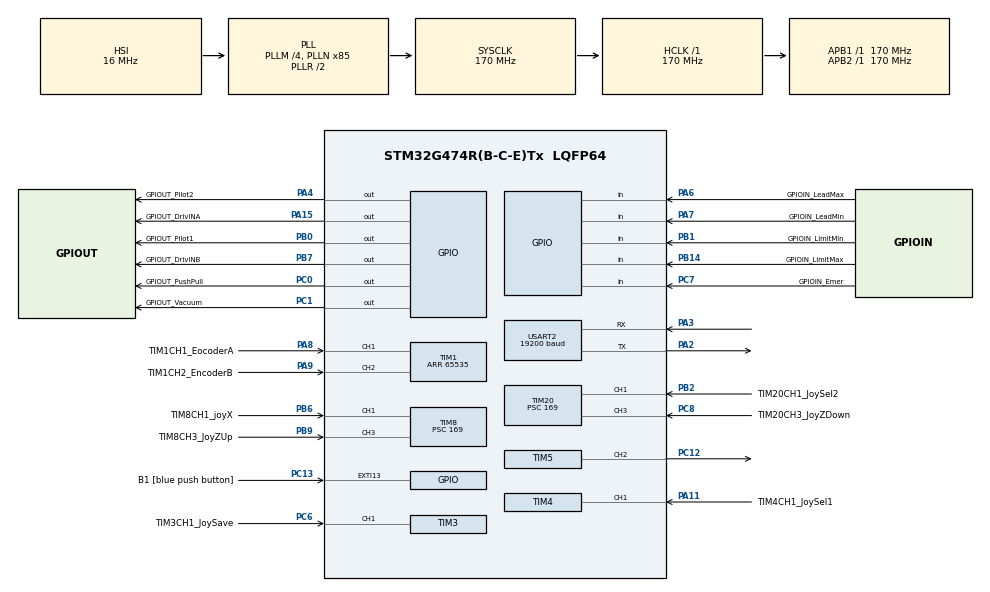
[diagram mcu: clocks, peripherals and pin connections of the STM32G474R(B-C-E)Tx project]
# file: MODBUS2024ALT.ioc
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ARM.CMSIS-DSP.1.15.0.CMSISJjDSP=Source
ARM.CMSIS.6.0.0.CMSISJjCORE=true
Dma.Request0=USART2_TX
Dma.Request1=USART2_RX
Dma.USART2_RX.1.Direction=DMA_PERIPH_TO_MEMORY
Dma.USART2_RX.1.EventEnable=DISABLE
Dma.USART2_RX.1.Instance=DMA1_Channel2
Dma.USART2_RX.1.MemDataAlignment=DMA_MDATAALIGN_BYTE
Dma.USART2_RX.1.MemInc=DMA_MINC_ENABLE
Dma.USART2_RX.1.Mode=DMA_NORMAL
Dma.USART2_RX.1.PeriphDataAlignment=DMA_PDATAALIGN_BYTE
Dma.USART2_RX.1.PeriphInc=DMA_PINC_DISABLE
Dma.USART2_RX.1.Polarity=HAL_DMAMUX_REQ_GEN_RISING
Dma.USART2_RX.1.Priority=DMA_PRIORITY_LOW
Dma.USART2_RX.1.RequestNumber=1
Dma.USART2_RX.1.SignalID=NONE
Dma.USART2_RX.1.SyncEnable=DISABLE
Dma.USART2_RX.1.SyncPolarity=HAL_DMAMUX_SYNC_NO_EVENT
Dma.USART2_RX.1.SyncRequestNumber=1
Dma.USART2_RX.1.SyncSignalID=NONE
Dma.USART2_TX.0.Direction=DMA_MEMORY_TO_PERIPH
Dma.USART2_TX.0.EventEnable=DISABLE
Dma.USART2_TX.0.Instance=DMA1_Channel1
Dma.USART2_TX.0.MemDataAlignment=DMA_MDATAALIGN_BYTE
Dma.USART2_TX.0.MemInc=DMA_MINC_ENABLE
Dma.USART2_TX.0.Mode=DMA_NORMAL
Dma.USART2_TX.0.PeriphDataAlignment=DMA_PDATAALIGN_BYTE
Dma.USART2_TX.0.PeriphInc=DMA_PINC_DISABLE
Dma.USART2_TX.0.Polarity=HAL_DMAMUX_REQ_GEN_RISING
Dma.USART2_TX.0.Priority=DMA_PRIORITY_LOW
Dma.USART2_TX.0.RequestNumber=1
Dma.USART2_TX.0.SignalID=NONE
Dma.USART2_TX.0.SyncEnable=DISABLE
Dma.USART2_TX.0.SyncPolarity=HAL_DMAMUX_SYNC_NO_EVENT
Dma.USART2_TX.0.SyncRequestNumber=1
Dma.USART2_TX.0.SyncSignalID=NONE
Mcu.Family=STM32G4
Mcu.Name=STM32G474R(B-C-E)Tx
Mcu.Package=LQFP64
NVIC.DMA1_Channel1_IRQn=true\:0\:0\:false\:false\:true\:false\:true\:true
NVIC.DMA1_Channel2_IRQn=true\:0\:0\:false\:false\:true\:false\:true\:true
NVIC.EXTI15_10_IRQn=true\:0\:0\:false\:false\:true\:true\:true\:true
NVIC.PriorityGroup=NVIC_PRIORITYGROUP_4
NVIC.TIM1_UP_TIM16_IRQn=true\:0\:0\:false\:false\:true\:true\:true\:true
NVIC.TIM2_IRQn=true\:0\:0\:false\:false\:true\:true\:true\:true
NVIC.USART2_IRQn=true\:0\:0\:false\:false\:true\:true\:true\:true
PA11.GPIO_Label=TIM4CH1_JoySel1
PA11.Signal=S_TIM4_CH1
PA13.GPIO_Label=T_SWDIO
PA13.Mode=Serial_Wire
PA13.Signal=SYS_JTMS-SWDIO
PA14.GPIO_Label=T_SWCLK
PA14.Mode=Serial_Wire
PA14.Signal=SYS_JTCK-SWCLK
PA15.GPIO_Label=GPIOUT_DrivINA
PA15.GPIO_PuPd=GPIO_PULLUP
PA15.PinState=GPIO_PIN_SET
PA15.Signal=GPIO_Output
PA2.Mode=Asynchronous
PA2.Signal=USART2_TX
PA3.Mode=Asynchronous
PA3.Signal=USART2_RX
PA4.GPIO_Label=GPIOUT_Pilot2
PA4.GPIO_PuPd=GPIO_PULLUP
PA4.PinState=GPIO_PIN_SET
PA4.Signal=GPIO_Output
PA6.GPIO_Label=GPIOIN_LeadMax
PA6.Signal=GPIO_Input
PA7.GPIO_Label=GPIOIN_LeadMin
PA7.Signal=GPIO_Input
PA8.GPIO_Label=TIM1CH1_EocoderA
PA8.Signal=S_TIM1_CH1
PA9.GPIO_Label=TIM1CH2_EncoderB
PA9.Signal=S_TIM1_CH2
PB0.GPIO_Label=GPIOUT_Pilot1
PB0.GPIO_PuPd=GPIO_PULLUP
PB0.PinState=GPIO_PIN_SET
PB0.Signal=GPIO_Output
PB1.GPIO_Label=GPIOIN_LimitMin
PB1.Signal=GPIO_Input
PB14.GPIO_Label=GPIOIN_LimitMax
PB14.Signal=GPIO_Input
PB2.GPIO_Label=TIM20CH1_JoySel2
PB2.Signal=S_TIM20_CH1
PB3.GPIO_Label=T_SWO
PB3.Signal=SYS_JTDO-SWO
PB6.GPIO_Label=TIM8CH1_joyX
PB6.Signal=S_TIM8_CH1
PB7.GPIO_Label=GPIOUT_DrivINB
PB7.GPIO_PuPd=GPIO_PULLUP
PB7.PinState=GPIO_PIN_SET
PB7.Signal=GPIO_Output
PB9.GPIO_Label=TIM8CH3_JoyZUp
PB9.Signal=S_TIM8_CH3
PC0.GPIO_Label=GPIOUT_PushPull
PC0.GPIO_PuPd=GPIO_PULLUP
PC0.GPIO_Speed=GPIO_SPEED_FREQ_LOW
PC0.PinState=GPIO_PIN_SET
PC0.Signal=GPIO_Output
PC1.GPIO_Label=GPIOUT_Vacuum
PC1.GPIO_PuPd=GPIO_PULLUP
PC1.PinState=GPIO_PIN_SET
PC1.Signal=GPIO_Output
PC12.Signal=S_TIM5_CH2
PC13.GPIO_Label=B1 [blue push button]
PC13.Signal=GPXTI13
PC14-OSC32_IN.Mode=LSE-External-Oscillator
PC14-OSC32_IN.Signal=RCC_OSC32_IN
PC15-OSC32_OUT.Mode=LSE-External-Oscillator
PC15-OSC32_OUT.Signal=RCC_OSC32_OUT
PC6.GPIO_Label=TIM3CH1_JoySave
PC6.Signal=S_TIM3_CH1
PC7.GPIO_Label=GPIOIN_Emer
PC7.Signal=GPIO_Input
PC8.GPIO_Label=TIM20CH3_JoyZDown
PC8.Signal=S_TIM20_CH3
PF0-OSC_IN.Mode=HSE-External-Oscillator
PF0-OSC_IN.Signal=RCC_OSC_IN
PF1-OSC_OUT.Mode=HSE-External-Oscillator
PF1-OSC_OUT.Signal=RCC_OSC_OUT
ProjectManager.HeapSize=0x200
ProjectManager.StackSize=0x400
ProjectManager.TargetToolchain=STM32CubeIDE
RCC.ADC12Freq_Value=170000000
RCC.ADC345Freq_Value=170000000
RCC.AHBFreq_Value=170000000
RCC.APB1Freq_Value=170000000
RCC.APB1TimFreq_Value=170000000
RCC.APB2Freq_Value=170000000
RCC.APB2TimFreq_Value=170000000
RCC.CortexFreq_Value=170000000
RCC.EXTERNAL_CLOCK_VALUE=12288000
RCC.HCLKFreq_Value=170000000
RCC.HSE_VALUE=24000000
RCC.HSI48_VALUE=48000000
RCC.HSI_VALUE=16000000
RCC.PLLM=RCC_PLLM_DIV4
RCC.PLLN=85
RCC.RTCClockSelection=RCC_RTCCLKSOURCE_LSE
RCC.SYSCLKFreq_VALUE=170000000
RCC.SYSCLKSource=RCC_SYSCLKSOURCE_PLLCLK
RCC.USBFreq_Value=170000000
RCC.VCOOutputFreq_Value=340000000
SH.S_TIM1_CH1.0=TIM1_CH1,Encoder_Interface
SH.S_TIM1_CH2.0=TIM1_CH2,Encoder_Interface
SH.S_TIM20_CH1.0=TIM20_CH1,Input_Capture1_from_TI1
SH.S_TIM20_CH1.1=TIM20_CH1,TriggerSource_TI1FP1
SH.S_TIM20_CH3.0=TIM20_CH3,Input_Capture3_from_TI3
SH.S_TIM3_CH1.0=TIM3_CH1,Input_Capture1_from_TI1
SH.S_TIM3_CH1.1=TIM3_CH1,TriggerSource_TI1FP1
SH.S_TIM4_CH1.0=TIM4_CH1,Input_Capture1_from_TI1
SH.S_TIM4_CH1.1=TIM4_CH1,TriggerSource_TI1FP1
SH.S_TIM5_CH2.0=TIM5_CH2,PWM Generation2 CH2
SH.S_TIM8_CH1.0=TIM8_CH1,TriggerSource_TI1FP1
SH.S_TIM8_CH1.1=TIM8_CH1,Input_Capture1_from_TI1
SH.S_TIM8_CH3.0=TIM8_CH3,Input_Capture3_from_TI3
TIM1.EncoderMode=TIM_ENCODERMODE_TI12
TIM1.IC1Filter=2
TIM1.IC2Filter=2
TIM1.IC2Polarity=TIM_ICPOLARITY_RISING
TIM1.PeriodNoDither=65535
TIM16.PeriodNoDither=1145
TIM16.Prescaler=169
TIM2.PeriodNoDither=4294967295
TIM2.Prescaler=169
TIM20.Channel-Input_Capture1_from_TI1=TIM_CHANNEL_1
TIM20.Channel-Input_Capture2_from_TI1_63=TIM_CHANNEL_2
TIM20.Channel-Input_Capture3_from_TI3=TIM_CHANNEL_3
TIM20.Channel-Input_Capture4_from_TI3_63=TIM_CHANNEL_4
TIM20.ICPolarity_CH2=TIM_INPUTCHANNELPOLARITY_FALLING
TIM20.ICPolarity_CH4=TIM_INPUTCHANNELPOLARITY_FALLING
TIM20.Prescaler=169
TIM3.Channel-Input_Capture1_from_TI1=TIM_CHANNEL_1
TIM3.Channel-Input_Capture2_from_TI1_63=TIM_CHANNEL_2
TIM3.ICPolarity_CH2=TIM_INPUTCHANNELPOLARITY_FALLING
TIM3.Prescaler=169
TIM4.Channel-Input_Capture1_from_TI1=TIM_CHANNEL_1
TIM4.Channel-Input_Capture2_from_TI1_63=TIM_CHANNEL_2
TIM4.ICPolarity_CH2=TIM_INPUTCHANNELPOLARITY_FALLING
TIM4.Prescaler=169
TIM5.Channel-PWM\ Generation2\ CH2=TIM_CHANNEL_2
TIM5.PeriodNoDither=29999
TIM5.Prescaler=3
TIM8.Channel-Input_Capture1_from_TI1=TIM_CHANNEL_1
TIM8.Channel-Input_Capture2_from_TI1_63=TIM_CHANNEL_2
TIM8.Channel-Input_Capture3_from_TI3=TIM_CHANNEL_3
TIM8.Channel-Input_Capture4_from_TI3_63=TIM_CHANNEL_4
TIM8.ICPolarity_CH2=TIM_INPUTCHANNELPOLARITY_FALLING
TIM8.ICPolarity_CH4=TIM_INPUTCHANNELPOLARITY_FALLING
TIM8.Prescaler=169
USART2.BaudRate=19200
USART2.OneBitSampling=UART_ONE_BIT_SAMPLE_DISABLE
USART2.Parity=PARITY_EVEN
USART2.VirtualMode-Asynchronous=VM_ASYNC
USART2.WordLength=WORDLENGTH_9B
VP_ARM.CMSIS-DSP_VS_CMSISJjDSP_1.15.0_1.15.0.Mode=CMSISJjDSP
VP_ARM.CMSIS_VS_CMSISJjCORE_6.0.0_6.0.0.Mode=CMSISJjCORE
VP_SYS_VS_DBSignals.Mode=DisableDeadBatterySignals
VP_TIM16_VS_ClockSourceINT.Mode=Enable_Timer
VP_TIM16_VS_OPM.Mode=OPM_bit
VP_TIM20_VS_ClockSourceINT.Mode=Internal
VP_TIM20_VS_ControllerModeReset.Mode=Reset Mode
VP_TIM20_VS_indirect_ch1.Mode=Input_Capture2_from_TI1_63
VP_TIM20_VS_indirect_ch3.Mode=Input_Capture4_from_TI3_63
VP_TIM2_VS_ClockSourceINT.Mode=Internal
VP_TIM3_VS_ClockSourceINT.Mode=Internal
VP_TIM3_VS_ControllerModeReset.Mode=Reset Mode
VP_TIM3_VS_indirect_ch1.Mode=Input_Capture2_from_TI1_63
VP_TIM4_VS_ClockSourceINT.Mode=Internal
VP_TIM4_VS_ControllerModeReset.Mode=Reset Mode
VP_TIM4_VS_indirect_ch1.Mode=Input_Capture2_from_TI1_63
VP_TIM5_VS_ClockSourceINT.Mode=Internal
VP_TIM8_VS_ClockSourceINT.Mode=Internal
VP_TIM8_VS_ControllerModeReset.Mode=Reset Mode
VP_TIM8_VS_indirect_ch1.Mode=Input_Capture2_from_TI1_63
VP_TIM8_VS_indirect_ch3.Mode=Input_Capture4_from_TI3_63
board=NUCLEO-G474RE

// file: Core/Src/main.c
/* USER CODE BEGIN Header */
/**
  ******************************************************************************
  * @file           : main.c
  * @brief          : Main program body
  ******************************************************************************
  * @attention
  *
  * Copyright (c) 2024 STMicroelectronics.
  * All rights reserved.
  *
  * This software is licensed under terms that can be found in the LICENSE file
  * in the root directory of this software component.
  * If no LICENSE file comes with this software, it is provided AS-IS.
  *
  ******************************************************************************
  */
/* USER CODE END Header */
#include "main.h"

/* USER CODE BEGIN Includes */
#include "arm_math.h"
#include "ModBusRTU.h"
//#include "call_mode.h"
#include "call_data.h"
#include "globalVar.h"
#include "gripper.h"
#include "motor_control.h"
/* USER CODE END Includes */

TIM_HandleTypeDef htim1;
TIM_HandleTypeDef htim2;
TIM_HandleTypeDef htim3;
TIM_HandleTypeDef htim4;
TIM_HandleTypeDef htim5;
TIM_HandleTypeDef htim8;
TIM_HandleTypeDef htim16;
TIM_HandleTypeDef htim20;

UART_HandleTypeDef huart2;
DMA_HandleTypeDef hdma_usart2_tx;
DMA_HandleTypeDef hdma_usart2_rx;

/* USER CODE BEGIN PV */
ModbusHandleTypedef hmodbus;
uint32_t fpos = 0;
//u16u8_t registerFrame[200];
uint8_t guuuauua = 0 , vacc = 0, pp = 0;

typedef struct
{
	// for record New / Old value to calculate dx / dt
	uint32_t QEIRead[2];
//	uint64_t TimeStamp[2];
//	float QEIPostion_1turn;
//	float QEIAngularVelocity;
}QEI_StructureTypeDef;

QEI_StructureTypeDef QEIdata = {0};

int abbs = 0;

//int set_pos = 0;
float pi = 3.1415926535897932384626433832795;
//float di_pulley = 24.95;

arm_pid_instance_f32 PID = { 0 };
uint32_t QEI_raw = 0;
float QEI_mm = 0;
float set_point = 0;
float en_motor = 0;
float PWMset = 0;
float diffpos = 0;
uint32_t Vfeedback = 0;
uint8_t condi = 0;

uint16_t ADC[2] = { 0 };

uint16_t sen_top = 0;
uint16_t sen_bot = 0;

uint32_t time = 0;

/*-----------------------------------*/
float32_t kp = 0;
float32_t ki = 0;
float32_t kd = 0;
uint32_t Now = 0;
uint32_t Lastime = 0;
float error = 0;
float errorsum = 0;
float Iterm = 0;
float dinput = 0;
float Lasterror = 0;
float speed = 0;
float LastPos = 0;
float Dis_down = 0;
//float dt = 0;
float dt_velo = 0;
float dt_acc = 0;

float tim_velo_new = 0;
float tim_velo_last = 0;
float tim_acc_new = 0;
float tim_acc_last = 0;
float velo_new = 0;
float velo_last = 0;
float acc = 0;

/*--------------------------------------------------*/
float Vmax = 600.0; // mm/s
float Amax = 500.0; // mm/s^2
float Distance = 0;
float t = 0;
float temp_pos_acc = 0;
float temp_pos_const = 0;
float temp_v_acc = 0;
int temp = 0;
float Distance_Velo_Max = 0;
float traj[3];
float pos = 0;

float Time_acc = 0;
float Time_acc_tri = 0;
float Time_dec = 0;
float Time_const = 0;
float time_now = 0;
float Timestamp = 0;
float QEI_start = 0;
uint8_t trajec_state = 0;

float tim_new = 0;
float tim_last = 0;

uint8_t temp_check = 0;
//uint32_t Position[2];
//uint64_t TimeStamp[2];
/* USER CODE END PV */

void SystemClock_Config(void);
static void MX_GPIO_Init(void);
static void MX_DMA_Init(void);
static void MX_USART2_UART_Init(void);
static void MX_TIM16_Init(void);
static void MX_TIM2_Init(void);
static void MX_TIM1_Init(void);
static void MX_TIM8_Init(void);
static void MX_TIM20_Init(void);
static void MX_TIM5_Init(void);
static void MX_TIM4_Init(void);
static void MX_TIM3_Init(void);
/* USER CODE BEGIN PFP */
void remote_recieve();
void motor_run(uint64_t pwm, uint8_t dir);
int go_point();
void speedread();
/* USER CODE END PFP */

int main(void)
{

  /* MCU Configuration--------------------------------------------------------*/

  /* Reset of all peripherals, Initializes the Flash interface and the Systick. */
  HAL_Init();

  /* Configure the system clock */
  SystemClock_Config();

  /* Initialize all configured peripherals */
  MX_GPIO_Init();
  MX_DMA_Init();
  MX_USART2_UART_Init();
  MX_TIM16_Init();
  MX_TIM2_Init();
  MX_TIM1_Init();
  MX_TIM8_Init();
  MX_TIM20_Init();
  MX_TIM5_Init();
  MX_TIM4_Init();
  MX_TIM3_Init();
  /* USER CODE BEGIN 2 */
  hmodbus.huart = &huart2;
  hmodbus.htim = &htim16;
  hmodbus.slaveAddress = 0x15;
  hmodbus.RegisterSize = 200;
  Modbus_init(&hmodbus, registerFrame);

  HAL_TIM_Base_Start_IT(&htim2);

  HAL_TIM_Encoder_Start(&htim1,TIM_CHANNEL_ALL);
//
  HAL_TIM_Base_Start(&htim5);
  HAL_TIM_PWM_Start(&htim5, TIM_CHANNEL_2);

  trajec_target = -10;
//
//  HAL_TIM_Encoder_Start(&htim4,TIM_CHANNEL_ALL);

  arm_pid_instance_f32 PID = {0};
  PID.Kp = 0.4;
  PID.Ki = 0.0001;
  PID.Kd = 0;
  arm_pid_init_f32(&PID, 0);

//  HAL_TIM_IC_Start(&htim1, TIM_CHANNEL_1);
//  HAL_TIM_IC_Start(&htim1, TIM_CHANNEL_2);
//  HAL_TIM_IC_Start(&htim1, TIM_CHANNEL_3);
//  HAL_TIM_IC_Start(&htim1, TIM_CHANNEL_4);
  HAL_TIM_IC_Start(&htim3, TIM_CHANNEL_1);
  HAL_TIM_IC_Start(&htim3, TIM_CHANNEL_2);
  HAL_TIM_IC_Start(&htim4, TIM_CHANNEL_1);
  HAL_TIM_IC_Start(&htim4, TIM_CHANNEL_2);
  HAL_TIM_IC_Start(&htim8, TIM_CHANNEL_1);
  HAL_TIM_IC_Start(&htim8, TIM_CHANNEL_2);
  HAL_TIM_IC_Start(&htim8, TIM_CHANNEL_3);
  HAL_TIM_IC_Start(&htim8, TIM_CHANNEL_4);
//  HAL_TIM_IC_Start(&htim20, TIM_CHANNEL_1);
//  HAL_TIM_IC_Start(&htim20, TIM_CHANNEL_2);
  HAL_TIM_IC_Start(&htim20, TIM_CHANNEL_1);
  HAL_TIM_IC_Start(&htim20, TIM_CHANNEL_2);
  HAL_TIM_IC_Start(&htim20, TIM_CHANNEL_3);
  HAL_TIM_IC_Start(&htim20, TIM_CHANNEL_4);
//
//  HAL_ADCEx_Calibration_Start(&hadc1, ADC_SINGLE_ENDED);
//  HAL_ADC_Start_DMA(&hadc1, ADC_RawRead, 2);
  p1_timeStamp = HAL_GetTick();
  p2_timeStamp = HAL_GetTick();
  /* USER CODE END 2 */

  /* Infinite loop */
  while (1)
  {

    /* USER CODE BEGIN 3 */

	  if(modBusTimeStamp < HAL_GetTick()){
		  registerFrame[0x00].U16 = 22881;
		  sendall();
		  modBusTimeStamp += 200;
	  }

	  QEIReadRaw = __HAL_TIM_GET_COUNTER(&htim1);
	  QEI_raw = QEIReadRaw;
	  QEIdata.QEIRead[0] = QEIReadRaw;

	  Modbus_Protocal_Worker();
	  is_motor_should_run();
	  readLimit();
	  changeUnit();

	  linearPos = QEI_mm;

	  Emer = HAL_GPIO_ReadPin(GPIOC, GPIO_PIN_7);
	  tickk = HAL_GetTick();

	  if(Emer == 0){
		  readLead();
		  motor_run(0, 3);
//		  HAL_GPIO_WritePin(GPIOA, GPIO_PIN_4, 0);
//		  HAL_GPIO_WritePin(GPIOB, GPIO_PIN_0, 0);
		  registerFrame[0x10].U16 = 0;
		  modeSelection = 0;
		  jogModeState = goPick;
		  currentOrder = 0;
	  }
	  else{
		  readLead();
		  remote_recieve();
		  watch_mode();
		  go_point();
//		  z_axis_control_by_remote();

		  if(home_trigger == 1){
			  if(home_timeStamp < HAL_GetTick()){
		  		__HAL_TIM_SET_COUNTER(&htim1, 0);
		  		QEIReadRaw = 0;
		  		home_trigger = 0;
		  		xAxisPosition = 0;
		  		zMovingStatus = 0;
		  		home_trig = 0;

		  		p1Off();
		  		p2Off();
			  }
		  }
		  if(pointMode_timeTrig == 1){
			  if(pointMode_timeStamp < HAL_GetTick()){
				  pointMode_timeTrig = 0;
				  zMovingStatus = 0;
				  goalPointZ = 0;
			  }
		  }

		  if(trajec_target >= 0 && trajec_state == 0){
		  		QEI_start = QEI_mm;
		  }
		  Trajectory();
		  HomemadePID();
		  speedread();
		  accelread();
//		  if(p1_timeStamp < tickk){
//		  		HAL_GPIO_WritePin(GPIOB, GPIO_PIN_0, 0);
//		  		p1_timeStamp = tickk + 1000;
//		  	}
//		  	else if(p1_timeStamp > tickk){
//		  		HAL_GPIO_WritePin(GPIOB, GPIO_PIN_0, 1);
//		  	}

		  zActualSpeed = speed;
		  zAccel = acc;

	  }
//	  init_motor_cal();
//	  remote_recieve();
//	  watch_mode();
	  abbs = QEIdata.QEIRead[0] - QEIdata.QEIRead[1];
	  if(abbs > 32767)
//		  abbs -= 65535;
	  	  __HAL_TIM_SET_COUNTER(&htim1, QEIReadRaw - 65535);
	  if(abbs < -32767)
//		  abbs += 65535;
	  	  __HAL_TIM_SET_COUNTER(&htim1, QEIReadRaw - 65535);

	  QEIdata.QEIRead[1] = QEIdata.QEIRead[0];
  }
  /* USER CODE END 3 */
}

void SystemClock_Config(void)
{
  RCC_OscInitTypeDef RCC_OscInitStruct = {0};
  RCC_ClkInitTypeDef RCC_ClkInitStruct = {0};

  /** Configure the main internal regulator output voltage
  */
  HAL_PWREx_ControlVoltageScaling(PWR_REGULATOR_VOLTAGE_SCALE1_BOOST);

  /** Initializes the RCC Oscillators according to the specified parameters
  * in the RCC_OscInitTypeDef structure.
  */
  RCC_OscInitStruct.OscillatorType = RCC_OSCILLATORTYPE_HSI;
  RCC_OscInitStruct.HSIState = RCC_HSI_ON;
  RCC_OscInitStruct.HSICalibrationValue = RCC_HSICALIBRATION_DEFAULT;
  RCC_OscInitStruct.PLL.PLLState = RCC_PLL_ON;
  RCC_OscInitStruct.PLL.PLLSource = RCC_PLLSOURCE_HSI;
  RCC_OscInitStruct.PLL.PLLM = RCC_PLLM_DIV4;
  RCC_OscInitStruct.PLL.PLLN = 85;
  RCC_OscInitStruct.PLL.PLLP = RCC_PLLP_DIV2;
  RCC_OscInitStruct.PLL.PLLQ = RCC_PLLQ_DIV2;
  RCC_OscInitStruct.PLL.PLLR = RCC_PLLR_DIV2;
  if (HAL_RCC_OscConfig(&RCC_OscInitStruct) != HAL_OK)
  {
    Error_Handler();
  }

  /** Initializes the CPU, AHB and APB buses clocks
  */
  RCC_ClkInitStruct.ClockType = RCC_CLOCKTYPE_HCLK|RCC_CLOCKTYPE_SYSCLK
                              |RCC_CLOCKTYPE_PCLK1|RCC_CLOCKTYPE_PCLK2;
  RCC_ClkInitStruct.SYSCLKSource = RCC_SYSCLKSOURCE_PLLCLK;
  RCC_ClkInitStruct.AHBCLKDivider = RCC_SYSCLK_DIV1;
  RCC_ClkInitStruct.APB1CLKDivider = RCC_HCLK_DIV1;
  RCC_ClkInitStruct.APB2CLKDivider = RCC_HCLK_DIV1;

  if (HAL_RCC_ClockConfig(&RCC_ClkInitStruct, FLASH_LATENCY_4) != HAL_OK)
  {
    Error_Handler();
  }
}

static void MX_TIM1_Init(void)
{

  TIM_Encoder_InitTypeDef sConfig = {0};
  TIM_MasterConfigTypeDef sMasterConfig = {0};

  htim1.Instance = TIM1;
  htim1.Init.Prescaler = 0;
  htim1.Init.CounterMode = TIM_COUNTERMODE_UP;
  htim1.Init.Period = 65535;
  htim1.Init.ClockDivision = TIM_CLOCKDIVISION_DIV1;
  htim1.Init.RepetitionCounter = 0;
  htim1.Init.AutoReloadPreload = TIM_AUTORELOAD_PRELOAD_DISABLE;
  sConfig.EncoderMode = TIM_ENCODERMODE_TI12;
  sConfig.IC1Polarity = TIM_ICPOLARITY_RISING;
  sConfig.IC1Selection = TIM_ICSELECTION_DIRECTTI;
  sConfig.IC1Prescaler = TIM_ICPSC_DIV1;
  sConfig.IC1Filter = 2;
  sConfig.IC2Polarity = TIM_ICPOLARITY_RISING;
  sConfig.IC2Selection = TIM_ICSELECTION_DIRECTTI;
  sConfig.IC2Prescaler = TIM_ICPSC_DIV1;
  sConfig.IC2Filter = 2;
  if (HAL_TIM_Encoder_Init(&htim1, &sConfig) != HAL_OK)
  {
    Error_Handler();
  }
  sMasterConfig.MasterOutputTrigger = TIM_TRGO_RESET;
  sMasterConfig.MasterOutputTrigger2 = TIM_TRGO2_RESET;
  sMasterConfig.MasterSlaveMode = TIM_MASTERSLAVEMODE_DISABLE;
  if (HAL_TIMEx_MasterConfigSynchronization(&htim1, &sMasterConfig) != HAL_OK)
  {
    Error_Handler();
  }

}

static void MX_TIM2_Init(void)
{

  TIM_ClockConfigTypeDef sClockSourceConfig = {0};
  TIM_MasterConfigTypeDef sMasterConfig = {0};

  htim2.Instance = TIM2;
  htim2.Init.Prescaler = 169;
  htim2.Init.CounterMode = TIM_COUNTERMODE_UP;
  htim2.Init.Period = 4294967295;
  htim2.Init.ClockDivision = TIM_CLOCKDIVISION_DIV1;
  htim2.Init.AutoReloadPreload = TIM_AUTORELOAD_PRELOAD_DISABLE;
  if (HAL_TIM_Base_Init(&htim2) != HAL_OK)
  {
    Error_Handler();
  }
  sClockSourceConfig.ClockSource = TIM_CLOCKSOURCE_INTERNAL;
  if (HAL_TIM_ConfigClockSource(&htim2, &sClockSourceConfig) != HAL_OK)
  {
    Error_Handler();
  }
  sMasterConfig.MasterOutputTrigger = TIM_TRGO_RESET;
  sMasterConfig.MasterSlaveMode = TIM_MASTERSLAVEMODE_DISABLE;
  if (HAL_TIMEx_MasterConfigSynchronization(&htim2, &sMasterConfig) != HAL_OK)
  {
    Error_Handler();
  }

}

static void MX_TIM3_Init(void)
{

  TIM_ClockConfigTypeDef sClockSourceConfig = {0};
  TIM_SlaveConfigTypeDef sSlaveConfig = {0};
  TIM_MasterConfigTypeDef sMasterConfig = {0};
  TIM_IC_InitTypeDef sConfigIC = {0};

  htim3.Instance = TIM3;
  htim3.Init.Prescaler = 169;
  htim3.Init.CounterMode = TIM_COUNTERMODE_UP;
  htim3.Init.Period = 65535;
  htim3.Init.ClockDivision = TIM_CLOCKDIVISION_DIV1;
  htim3.Init.AutoReloadPreload = TIM_AUTORELOAD_PRELOAD_DISABLE;
  if (HAL_TIM_Base_Init(&htim3) != HAL_OK)
  {
    Error_Handler();
  }
  sClockSourceConfig.ClockSource = TIM_CLOCKSOURCE_INTERNAL;
  if (HAL_TIM_ConfigClockSource(&htim3, &sClockSourceConfig) != HAL_OK)
  {
    Error_Handler();
  }
  if (HAL_TIM_IC_Init(&htim3) != HAL_OK)
  {
    Error_Handler();
  }
  sSlaveConfig.SlaveMode = TIM_SLAVEMODE_RESET;
  sSlaveConfig.InputTrigger = TIM_TS_TI1FP1;
  sSlaveConfig.TriggerPolarity = TIM_INPUTCHANNELPOLARITY_RISING;
  sSlaveConfig.TriggerFilter = 0;
  if (HAL_TIM_SlaveConfigSynchro(&htim3, &sSlaveConfig) != HAL_OK)
  {
    Error_Handler();
  }
  sMasterConfig.MasterOutputTrigger = TIM_TRGO_RESET;
  sMasterConfig.MasterSlaveMode = TIM_MASTERSLAVEMODE_DISABLE;
  if (HAL_TIMEx_MasterConfigSynchronization(&htim3, &sMasterConfig) != HAL_OK)
  {
    Error_Handler();
  }
  sConfigIC.ICPolarity = TIM_INPUTCHANNELPOLARITY_RISING;
  sConfigIC.ICSelection = TIM_ICSELECTION_DIRECTTI;
  sConfigIC.ICPrescaler = TIM_ICPSC_DIV1;
  sConfigIC.ICFilter = 0;
  if (HAL_TIM_IC_ConfigChannel(&htim3, &sConfigIC, TIM_CHANNEL_1) != HAL_OK)
  {
    Error_Handler();
  }
  sConfigIC.ICPolarity = TIM_INPUTCHANNELPOLARITY_FALLING;
  sConfigIC.ICSelection = TIM_ICSELECTION_INDIRECTTI;
  if (HAL_TIM_IC_ConfigChannel(&htim3, &sConfigIC, TIM_CHANNEL_2) != HAL_OK)
  {
    Error_Handler();
  }

}

static void MX_TIM4_Init(void)
{

  TIM_ClockConfigTypeDef sClockSourceConfig = {0};
  TIM_SlaveConfigTypeDef sSlaveConfig = {0};
  TIM_MasterConfigTypeDef sMasterConfig = {0};
  TIM_IC_InitTypeDef sConfigIC = {0};

  htim4.Instance = TIM4;
  htim4.Init.Prescaler = 169;
  htim4.Init.CounterMode = TIM_COUNTERMODE_UP;
  htim4.Init.Period = 65535;
  htim4.Init.ClockDivision = TIM_CLOCKDIVISION_DIV1;
  htim4.Init.AutoReloadPreload = TIM_AUTORELOAD_PRELOAD_DISABLE;
  if (HAL_TIM_Base_Init(&htim4) != HAL_OK)
  {
    Error_Handler();
  }
  sClockSourceConfig.ClockSource = TIM_CLOCKSOURCE_INTERNAL;
  if (HAL_TIM_ConfigClockSource(&htim4, &sClockSourceConfig) != HAL_OK)
  {
    Error_Handler();
  }
  if (HAL_TIM_IC_Init(&htim4) != HAL_OK)
  {
    Error_Handler();
  }
  sSlaveConfig.SlaveMode = TIM_SLAVEMODE_RESET;
  sSlaveConfig.InputTrigger = TIM_TS_TI1FP1;
  sSlaveConfig.TriggerPolarity = TIM_INPUTCHANNELPOLARITY_RISING;
  sSlaveConfig.TriggerFilter = 0;
  if (HAL_TIM_SlaveConfigSynchro(&htim4, &sSlaveConfig) != HAL_OK)
  {
    Error_Handler();
  }
  sMasterConfig.MasterOutputTrigger = TIM_TRGO_RESET;
  sMasterConfig.MasterSlaveMode = TIM_MASTERSLAVEMODE_DISABLE;
  if (HAL_TIMEx_MasterConfigSynchronization(&htim4, &sMasterConfig) != HAL_OK)
  {
    Error_Handler();
  }
  sConfigIC.ICPolarity = TIM_INPUTCHANNELPOLARITY_RISING;
  sConfigIC.ICSelection = TIM_ICSELECTION_DIRECTTI;
  sConfigIC.ICPrescaler = TIM_ICPSC_DIV1;
  sConfigIC.ICFilter = 0;
  if (HAL_TIM_IC_ConfigChannel(&htim4, &sConfigIC, TIM_CHANNEL_1) != HAL_OK)
  {
    Error_Handler();
  }
  sConfigIC.ICPolarity = TIM_INPUTCHANNELPOLARITY_FALLING;
  sConfigIC.ICSelection = TIM_ICSELECTION_INDIRECTTI;
  if (HAL_TIM_IC_ConfigChannel(&htim4, &sConfigIC, TIM_CHANNEL_2) != HAL_OK)
  {
    Error_Handler();
  }

}

static void MX_TIM5_Init(void)
{

  TIM_ClockConfigTypeDef sClockSourceConfig = {0};
  TIM_MasterConfigTypeDef sMasterConfig = {0};
  TIM_OC_InitTypeDef sConfigOC = {0};

  htim5.Instance = TIM5;
  htim5.Init.Prescaler = 3;
  htim5.Init.CounterMode = TIM_COUNTERMODE_UP;
  htim5.Init.Period = 29999;
  htim5.Init.ClockDivision = TIM_CLOCKDIVISION_DIV1;
  htim5.Init.AutoReloadPreload = TIM_AUTORELOAD_PRELOAD_DISABLE;
  if (HAL_TIM_Base_Init(&htim5) != HAL_OK)
  {
    Error_Handler();
  }
  sClockSourceConfig.ClockSource = TIM_CLOCKSOURCE_INTERNAL;
  if (HAL_TIM_ConfigClockSource(&htim5, &sClockSourceConfig) != HAL_OK)
  {
    Error_Handler();
  }
  if (HAL_TIM_PWM_Init(&htim5) != HAL_OK)
  {
    Error_Handler();
  }
  sMasterConfig.MasterOutputTrigger = TIM_TRGO_RESET;
  sMasterConfig.MasterSlaveMode = TIM_MASTERSLAVEMODE_DISABLE;
  if (HAL_TIMEx_MasterConfigSynchronization(&htim5, &sMasterConfig) != HAL_OK)
  {
    Error_Handler();
  }
  sConfigOC.OCMode = TIM_OCMODE_PWM1;
  sConfigOC.Pulse = 0;
  sConfigOC.OCPolarity = TIM_OCPOLARITY_HIGH;
  sConfigOC.OCFastMode = TIM_OCFAST_DISABLE;
  if (HAL_TIM_PWM_ConfigChannel(&htim5, &sConfigOC, TIM_CHANNEL_2) != HAL_OK)
  {
    Error_Handler();
  }
  HAL_TIM_MspPostInit(&htim5);

}

static void MX_TIM8_Init(void)
{

  TIM_ClockConfigTypeDef sClockSourceConfig = {0};
  TIM_SlaveConfigTypeDef sSlaveConfig = {0};
  TIM_MasterConfigTypeDef sMasterConfig = {0};
  TIM_IC_InitTypeDef sConfigIC = {0};

  htim8.Instance = TIM8;
  htim8.Init.Prescaler = 169;
  htim8.Init.CounterMode = TIM_COUNTERMODE_UP;
  htim8.Init.Period = 65535;
  htim8.Init.ClockDivision = TIM_CLOCKDIVISION_DIV1;
  htim8.Init.RepetitionCounter = 0;
  htim8.Init.AutoReloadPreload = TIM_AUTORELOAD_PRELOAD_DISABLE;
  if (HAL_TIM_Base_Init(&htim8) != HAL_OK)
  {
    Error_Handler();
  }
  sClockSourceConfig.ClockSource = TIM_CLOCKSOURCE_INTERNAL;
  if (HAL_TIM_ConfigClockSource(&htim8, &sClockSourceConfig) != HAL_OK)
  {
    Error_Handler();
  }
  if (HAL_TIM_IC_Init(&htim8) != HAL_OK)
  {
    Error_Handler();
  }
  sSlaveConfig.SlaveMode = TIM_SLAVEMODE_RESET;
  sSlaveConfig.InputTrigger = TIM_TS_TI1FP1;
  sSlaveConfig.TriggerPolarity = TIM_INPUTCHANNELPOLARITY_RISING;
  sSlaveConfig.TriggerFilter = 0;
  if (HAL_TIM_SlaveConfigSynchro(&htim8, &sSlaveConfig) != HAL_OK)
  {
    Error_Handler();
  }
  sMasterConfig.MasterOutputTrigger = TIM_TRGO_RESET;
  sMasterConfig.MasterOutputTrigger2 = TIM_TRGO2_RESET;
  sMasterConfig.MasterSlaveMode = TIM_MASTERSLAVEMODE_DISABLE;
  if (HAL_TIMEx_MasterConfigSynchronization(&htim8, &sMasterConfig) != HAL_OK)
  {
    Error_Handler();
  }
  sConfigIC.ICPolarity = TIM_INPUTCHANNELPOLARITY_RISING;
  sConfigIC.ICSelection = TIM_ICSELECTION_DIRECTTI;
  sConfigIC.ICPrescaler = TIM_ICPSC_DIV1;
  sConfigIC.ICFilter = 0;
  if (HAL_TIM_IC_ConfigChannel(&htim8, &sConfigIC, TIM_CHANNEL_1) != HAL_OK)
  {
    Error_Handler();
  }
  sConfigIC.ICPolarity = TIM_INPUTCHANNELPOLARITY_FALLING;
  sConfigIC.ICSelection = TIM_ICSELECTION_INDIRECTTI;
  if (HAL_TIM_IC_ConfigChannel(&htim8, &sConfigIC, TIM_CHANNEL_2) != HAL_OK)
  {
    Error_Handler();
  }
  sConfigIC.ICPolarity = TIM_INPUTCHANNELPOLARITY_RISING;
  sConfigIC.ICSelection = TIM_ICSELECTION_DIRECTTI;
  if (HAL_TIM_IC_ConfigChannel(&htim8, &sConfigIC, TIM_CHANNEL_3) != HAL_OK)
  {
    Error_Handler();
  }
  sConfigIC.ICPolarity = TIM_INPUTCHANNELPOLARITY_FALLING;
  sConfigIC.ICSelection = TIM_ICSELECTION_INDIRECTTI;
  if (HAL_TIM_IC_ConfigChannel(&htim8, &sConfigIC, TIM_CHANNEL_4) != HAL_OK)
  {
    Error_Handler();
  }

}

static void MX_TIM16_Init(void)
{

  htim16.Instance = TIM16;
  htim16.Init.Prescaler = 169;
  htim16.Init.CounterMode = TIM_COUNTERMODE_UP;
  htim16.Init.Period = 1145;
  htim16.Init.ClockDivision = TIM_CLOCKDIVISION_DIV1;
  htim16.Init.RepetitionCounter = 0;
  htim16.Init.AutoReloadPreload = TIM_AUTORELOAD_PRELOAD_DISABLE;
  if (HAL_TIM_Base_Init(&htim16) != HAL_OK)
  {
    Error_Handler();
  }
  if (HAL_TIM_OnePulse_Init(&htim16, TIM_OPMODE_SINGLE) != HAL_OK)
  {
    Error_Handler();
  }

}

static void MX_TIM20_Init(void)
{

  TIM_ClockConfigTypeDef sClockSourceConfig = {0};
  TIM_SlaveConfigTypeDef sSlaveConfig = {0};
  TIM_MasterConfigTypeDef sMasterConfig = {0};
  TIM_IC_InitTypeDef sConfigIC = {0};

  htim20.Instance = TIM20;
  htim20.Init.Prescaler = 169;
  htim20.Init.CounterMode = TIM_COUNTERMODE_UP;
  htim20.Init.Period = 65535;
  htim20.Init.ClockDivision = TIM_CLOCKDIVISION_DIV1;
  htim20.Init.RepetitionCounter = 0;
  htim20.Init.AutoReloadPreload = TIM_AUTORELOAD_PRELOAD_DISABLE;
  if (HAL_TIM_Base_Init(&htim20) != HAL_OK)
  {
    Error_Handler();
  }
  sClockSourceConfig.ClockSource = TIM_CLOCKSOURCE_INTERNAL;
  if (HAL_TIM_ConfigClockSource(&htim20, &sClockSourceConfig) != HAL_OK)
  {
    Error_Handler();
  }
  if (HAL_TIM_IC_Init(&htim20) != HAL_OK)
  {
    Error_Handler();
  }
  sSlaveConfig.SlaveMode = TIM_SLAVEMODE_RESET;
  sSlaveConfig.InputTrigger = TIM_TS_TI1FP1;
  sSlaveConfig.TriggerPolarity = TIM_INPUTCHANNELPOLARITY_RISING;
  sSlaveConfig.TriggerFilter = 0;
  if (HAL_TIM_SlaveConfigSynchro(&htim20, &sSlaveConfig) != HAL_OK)
  {
    Error_Handler();
  }
  sMasterConfig.MasterOutputTrigger = TIM_TRGO_RESET;
  sMasterConfig.MasterOutputTrigger2 = TIM_TRGO2_RESET;
  sMasterConfig.MasterSlaveMode = TIM_MASTERSLAVEMODE_DISABLE;
  if (HAL_TIMEx_MasterConfigSynchronization(&htim20, &sMasterConfig) != HAL_OK)
  {
    Error_Handler();
  }
  sConfigIC.ICPolarity = TIM_INPUTCHANNELPOLARITY_RISING;
  sConfigIC.ICSelection = TIM_ICSELECTION_DIRECTTI;
  sConfigIC.ICPrescaler = TIM_ICPSC_DIV1;
  sConfigIC.ICFilter = 0;
  if (HAL_TIM_IC_ConfigChannel(&htim20, &sConfigIC, TIM_CHANNEL_1) != HAL_OK)
  {
    Error_Handler();
  }
  sConfigIC.ICPolarity = TIM_INPUTCHANNELPOLARITY_FALLING;
  sConfigIC.ICSelection = TIM_ICSELECTION_INDIRECTTI;
  if (HAL_TIM_IC_ConfigChannel(&htim20, &sConfigIC, TIM_CHANNEL_2) != HAL_OK)
  {
    Error_Handler();
  }
  sConfigIC.ICPolarity = TIM_INPUTCHANNELPOLARITY_RISING;
  sConfigIC.ICSelection = TIM_ICSELECTION_DIRECTTI;
  if (HAL_TIM_IC_ConfigChannel(&htim20, &sConfigIC, TIM_CHANNEL_3) != HAL_OK)
  {
    Error_Handler();
  }
  sConfigIC.ICPolarity = TIM_INPUTCHANNELPOLARITY_FALLING;
  sConfigIC.ICSelection = TIM_ICSELECTION_INDIRECTTI;
  if (HAL_TIM_IC_ConfigChannel(&htim20, &sConfigIC, TIM_CHANNEL_4) != HAL_OK)
  {
    Error_Handler();
  }

}

static void MX_USART2_UART_Init(void)
{

  huart2.Instance = USART2;
  huart2.Init.BaudRate = 19200;
  huart2.Init.WordLength = UART_WORDLENGTH_9B;
  huart2.Init.StopBits = UART_STOPBITS_1;
  huart2.Init.Parity = UART_PARITY_EVEN;
  huart2.Init.Mode = UART_MODE_TX_RX;
  huart2.Init.HwFlowCtl = UART_HWCONTROL_NONE;
  huart2.Init.OverSampling = UART_OVERSAMPLING_16;
  huart2.Init.OneBitSampling = UART_ONE_BIT_SAMPLE_DISABLE;
  huart2.Init.ClockPrescaler = UART_PRESCALER_DIV1;
  huart2.AdvancedInit.AdvFeatureInit = UART_ADVFEATURE_NO_INIT;
  if (HAL_UART_Init(&huart2) != HAL_OK)
  {
    Error_Handler();
  }
  if (HAL_UARTEx_SetTxFifoThreshold(&huart2, UART_TXFIFO_THRESHOLD_1_8) != HAL_OK)
  {
    Error_Handler();
  }
  if (HAL_UARTEx_SetRxFifoThreshold(&huart2, UART_RXFIFO_THRESHOLD_1_8) != HAL_OK)
  {
    Error_Handler();
  }
  if (HAL_UARTEx_DisableFifoMode(&huart2) != HAL_OK)
  {
    Error_Handler();
  }

}

static void MX_DMA_Init(void)
{

  /* DMA controller clock enable */
  __HAL_RCC_DMAMUX1_CLK_ENABLE();
  __HAL_RCC_DMA1_CLK_ENABLE();

  /* DMA interrupt init */
  /* DMA1_Channel1_IRQn interrupt configuration */
  HAL_NVIC_SetPriority(DMA1_Channel1_IRQn, 0, 0);
  HAL_NVIC_EnableIRQ(DMA1_Channel1_IRQn);
  /* DMA1_Channel2_IRQn interrupt configuration */
  HAL_NVIC_SetPriority(DMA1_Channel2_IRQn, 0, 0);
  HAL_NVIC_EnableIRQ(DMA1_Channel2_IRQn);

}

static void MX_GPIO_Init(void)
{
  GPIO_InitTypeDef GPIO_InitStruct = {0};

  /* GPIO Ports Clock Enable */
  __HAL_RCC_GPIOC_CLK_ENABLE();
  __HAL_RCC_GPIOF_CLK_ENABLE();
  __HAL_RCC_GPIOA_CLK_ENABLE();
  __HAL_RCC_GPIOB_CLK_ENABLE();

  /*Configure GPIO pin Output Level */
  HAL_GPIO_WritePin(GPIOC, GPIOUT_PushPull_Pin|GPIOUT_Vacuum_Pin, GPIO_PIN_SET);

  /*Configure GPIO pin Output Level */
  HAL_GPIO_WritePin(GPIOA, GPIOUT_Pilot2_Pin|GPIOUT_DrivINA_Pin, GPIO_PIN_SET);

  /*Configure GPIO pin Output Level */
  HAL_GPIO_WritePin(GPIOB, GPIOUT_Pilot1_Pin|GPIOUT_DrivINB_Pin, GPIO_PIN_SET);

  /*Configure GPIO pin : B1_Pin */
  GPIO_InitStruct.Pin = B1_Pin;
  GPIO_InitStruct.Mode = GPIO_MODE_IT_RISING;
  GPIO_InitStruct.Pull = GPIO_NOPULL;
  HAL_GPIO_Init(B1_GPIO_Port, &GPIO_InitStruct);

  /*Configure GPIO pins : GPIOUT_PushPull_Pin GPIOUT_Vacuum_Pin */
  GPIO_InitStruct.Pin = GPIOUT_PushPull_Pin|GPIOUT_Vacuum_Pin;
  GPIO_InitStruct.Mode = GPIO_MODE_OUTPUT_PP;
  GPIO_InitStruct.Pull = GPIO_PULLUP;
  GPIO_InitStruct.Speed = GPIO_SPEED_FREQ_LOW;
  HAL_GPIO_Init(GPIOC, &GPIO_InitStruct);

  /*Configure GPIO pins : GPIOUT_Pilot2_Pin GPIOUT_DrivINA_Pin */
  GPIO_InitStruct.Pin = GPIOUT_Pilot2_Pin|GPIOUT_DrivINA_Pin;
  GPIO_InitStruct.Mode = GPIO_MODE_OUTPUT_PP;
  GPIO_InitStruct.Pull = GPIO_PULLUP;
  GPIO_InitStruct.Speed = GPIO_SPEED_FREQ_LOW;
  HAL_GPIO_Init(GPIOA, &GPIO_InitStruct);

  /*Configure GPIO pins : GPIOIN_LeadMax_Pin GPIOIN_LeadMin_Pin */
  GPIO_InitStruct.Pin = GPIOIN_LeadMax_Pin|GPIOIN_LeadMin_Pin;
  GPIO_InitStruct.Mode = GPIO_MODE_INPUT;
  GPIO_InitStruct.Pull = GPIO_NOPULL;
  HAL_GPIO_Init(GPIOA, &GPIO_InitStruct);

  /*Configure GPIO pins : GPIOUT_Pilot1_Pin GPIOUT_DrivINB_Pin */
  GPIO_InitStruct.Pin = GPIOUT_Pilot1_Pin|GPIOUT_DrivINB_Pin;
  GPIO_InitStruct.Mode = GPIO_MODE_OUTPUT_PP;
  GPIO_InitStruct.Pull = GPIO_PULLUP;
  GPIO_InitStruct.Speed = GPIO_SPEED_FREQ_LOW;
  HAL_GPIO_Init(GPIOB, &GPIO_InitStruct);

  /*Configure GPIO pins : GPIOIN_LimitMin_Pin GPIOIN_LimitMax_Pin */
  GPIO_InitStruct.Pin = GPIOIN_LimitMin_Pin|GPIOIN_LimitMax_Pin;
  GPIO_InitStruct.Mode = GPIO_MODE_INPUT;
  GPIO_InitStruct.Pull = GPIO_NOPULL;
  HAL_GPIO_Init(GPIOB, &GPIO_InitStruct);

  /*Configure GPIO pin : GPIOIN_Emer_Pin */
  GPIO_InitStruct.Pin = GPIOIN_Emer_Pin;
  GPIO_InitStruct.Mode = GPIO_MODE_INPUT;
  GPIO_InitStruct.Pull = GPIO_NOPULL;
  HAL_GPIO_Init(GPIOIN_Emer_GPIO_Port, &GPIO_InitStruct);

  /* EXTI interrupt init*/
  HAL_NVIC_SetPriority(EXTI15_10_IRQn, 0, 0);
  HAL_NVIC_EnableIRQ(EXTI15_10_IRQn);

}

/* USER CODE BEGIN 4 */
//void HAL_TIM_PeriodElapsedCallback(TIM_HandleTypeDef *htim) {
//    if (htim == &htim2) {
//        registerFrame[0x00].U16 = 22881;
//        sendall();
//    }
//}

void motor_run(uint64_t pwm, uint8_t dir){
	is_motor_should_run();
	if(dir == 1){
		if(isMotorCanMoveUp == 1){
			usePWM = pwm;
			__HAL_TIM_SET_COMPARE(&htim5, TIM_CHANNEL_2, usePWM);
			motoring = 1;
//			motor_moveup();
			HAL_GPIO_WritePin(GPIOA, GPIO_PIN_15,GPIO_PIN_RESET);
			HAL_GPIO_WritePin(GPIOB, GPIO_PIN_7,GPIO_PIN_SET);
//			HAL_GPIO_WritePin(GPIOA, GPIO_PIN_4, 0);
//			HAL_GPIO_WritePin(GPIOB, GPIO_PIN_0, 1);
		}
		else if(isMotorCanMoveUp == 0){
			gopoint_act = 0;
			__HAL_TIM_SET_COMPARE(&htim5, TIM_CHANNEL_2, usePWM);
			HAL_GPIO_WritePin(GPIOA, GPIO_PIN_15,GPIO_PIN_RESET);
			HAL_GPIO_WritePin(GPIOB, GPIO_PIN_7,GPIO_PIN_RESET);
		}
	}
	else if(dir == 2){
		if(isMotorCanMoveDown == 1){
			usePWM = pwm;
			__HAL_TIM_SET_COMPARE(&htim5, TIM_CHANNEL_2, usePWM);
			motoring = 2;
//			motor_movedown();
			HAL_GPIO_WritePin(GPIOA, GPIO_PIN_15,GPIO_PIN_SET);
			HAL_GPIO_WritePin(GPIOB, GPIO_PIN_7,GPIO_PIN_RESET);
//			HAL_GPIO_WritePin(GPIOB, GPIO_PIN_0, 0);
//			HAL_GPIO_WritePin(GPIOA, GPIO_PIN_4, 1);
		}
		else if(isMotorCanMoveDown == 0){
			__HAL_TIM_SET_COMPARE(&htim5, TIM_CHANNEL_2, usePWM);
			HAL_GPIO_WritePin(GPIOA, GPIO_PIN_15,GPIO_PIN_RESET);
			HAL_GPIO_WritePin(GPIOB, GPIO_PIN_7,GPIO_PIN_RESET);
		}
	}
	else if(dir == 3){
		if(modeSelection != 2){
			usePWM = 30000;
			__HAL_TIM_SET_COMPARE(&htim5, TIM_CHANNEL_2, usePWM);
			HAL_GPIO_WritePin(GPIOA, GPIO_PIN_15,GPIO_PIN_RESET);
			HAL_GPIO_WritePin(GPIOB, GPIO_PIN_7,GPIO_PIN_RESET);
			motoring = 3;
		}
		if(modeSelection == 2){
			usePWM = 0;
			motoring = 4;
		}
	}
//	else{
//		usePWM = 0;
//		__HAL_TIM_SET_COMPARE(&htim5, TIM_CHANNEL_2, usePWM);
//		motoring = 0;
//	}
}

void remote_recieve(){
	JoyxPosition_Rise = __HAL_TIM_GET_COMPARE(&htim8,TIM_CHANNEL_1);
	JoyxPosition_Fall = __HAL_TIM_GET_COMPARE(&htim8,TIM_CHANNEL_2);
	JoyxPosition_dt = JoyxPosition_Rise - JoyxPosition_Fall;
	if(JoyxPosition_Rise > JoyxPosition_Fall)
		JoyxPosition = JoyxPosition_dt + 19999 ;
	else
		JoyxPosition = JoyxPosition_dt;

	zUp_Rise = __HAL_TIM_GET_COMPARE(&htim8,TIM_CHANNEL_3);
	zUp_Fall = __HAL_TIM_GET_COMPARE(&htim8,TIM_CHANNEL_4);
	zUp_dt = zUp_Rise - zUp_Fall;
	if(zUp_Rise>zUp_Fall)
		zUp = zUp_dt + 19999 ;
	else
		zUp = zUp_dt;

	zDown_Rise = __HAL_TIM_GET_COMPARE(&htim20,TIM_CHANNEL_3);
	zDown_Fall = __HAL_TIM_GET_COMPARE(&htim20,TIM_CHANNEL_4);
	zDown_dt = zDown_Rise - zDown_Fall;
	if(zDown_Rise>zDown_Fall)
		zDown = zDown_dt + 19999 ;
	else
		zDown = zDown_dt;

	joySel1_Rise = __HAL_TIM_GET_COMPARE(&htim4,TIM_CHANNEL_1);
	joySel1_Fall = __HAL_TIM_GET_COMPARE(&htim4,TIM_CHANNEL_2);
	joySel1_dt = joySel1_Rise - joySel1_Fall;
	if(joySel1_Rise > joySel1_Fall)
		joySel1 = joySel1_dt + 19999 ;
	else
		joySel1 = joySel1_dt;

	joySel2_Rise = __HAL_TIM_GET_COMPARE(&htim20,TIM_CHANNEL_1);
	joySel2_Fall = __HAL_TIM_GET_COMPARE(&htim20,TIM_CHANNEL_2);
	joySel2_dt = joySel2_Rise - joySel2_Fall;
	if(joySel2_Rise > joySel2_Fall)
		joySel2 = joySel2_dt + 19999 ;
	else
		joySel2 = joySel2_dt;

	joySave_Rise = __HAL_TIM_GET_COMPARE(&htim3,TIM_CHANNEL_1);
	joySave_Fall = __HAL_TIM_GET_COMPARE(&htim3,TIM_CHANNEL_2);
	joySave_dt = joySave_Rise - joySave_Fall;
	if(joySave_Rise > joySave_Fall)
		joySave = joySave_dt + 19999 ;
	else
		joySave = joySave_dt;

	if(modeSelection  == 0 || modeSelection == 4){
		if(zUp < -2000 && zUp > -2010){
			p1Blink();
			p2Off();
			remoteCheck = 1;
			motor_run(9000, 1);
			if(goPoint_times  < HAL_GetTick()){
				goPointgoal = linearPos + 1;
				goPoint_times = HAL_GetTick() + 10;
			}
			gopoint_act = 1;
//			trajec_target = linearPos + 10;
		}
		else if(zDown > 38000 && zDown < 38800){
			p2Blink();
			p1Off();
			remoteCheck = 2;
			motor_run(7500, 2);
		}
		else{
			motor_run(0, 3);
			remoteCheck = 0;
		}

		if(JoyxPosition < 38100){
			if(JoyxPosition_timestamp < HAL_GetTick() && xAxisPosition < 100){
				xAxisPosition += 1;
				JoyxPosition_timestamp = HAL_GetTick() + 20;
			}
		}
		else if(JoyxPosition > 39000 && xAxisPosition > -100){
			if(JoyxPosition_timestamp < HAL_GetTick()){
				xAxisPosition -= 1;
				JoyxPosition_timestamp = HAL_GetTick() + 20;
			}
		}
	}

	if(joySel1 > 39000 && joySel1 < 40000){
		if(joySel2 > 39000) ShelvesSelect = 1;
		else  if(joySel2 > 38500 && joySel2 < 39000) ShelvesSelect = 2;
		else if(joySel2 > 38000 && joySel2 < 38100) ShelvesSelect = 3;
	}
	else if(joySel1 > 38000 && joySel1 < 39000){
		if(joySel2 > 38000 && joySel2 < 38100) ShelvesSelect = 4;
		else  if(joySel2 > 38500 && joySel2 < 39000) ShelvesSelect = 5;
		else if(joySel2 > 39000) ShelvesSelect = 6;
	}
}

int go_point(){
	if(goPoint_trig == 1){
		if(linearPos >= goPointgoal){
			motor_run(0, 3);
			goPoint_trig = 0;
			gopoint_act = 0;
			return 4;
		}
	}
	if(goPoint_trig == 2){
		if(linearPos <= goPointgoal){
			motor_run(0, 3);
			goPoint_trig = 0;
			gopoint_act = 0;
			return 4;
		}
	}

	if(gopoint_act == 1){
		if(linearPos < goPointgoal){
			motor_run(10000, 1);
			goPoint_trig = 1;
			jog_goPoint_actt = 1;
		}
		else if(linearPos > goPointgoal){
			motor_run(7200, 2);
			goPoint_trig = 2;
			jog_goPoint_actt = 1;
		}
	}
}

void speedread(){
	static uint32_t Timestamp = 0;
	if (Timestamp < __HAL_TIM_GET_COUNTER(&htim2)) {
		Timestamp = __HAL_TIM_GET_COUNTER(&htim2) + 10000;
		QEI_raw = __HAL_TIM_GET_COUNTER(&htim1);
		changeUnit();
		tim_velo_new = __HAL_TIM_GET_COUNTER(&htim2);
		dt_velo = (tim_velo_new - tim_velo_last)/1000000.0;
		speed = (QEI_mm - LastPos)/dt_velo;

		LastPos = QEI_mm;
		tim_velo_last = tim_velo_new;
	}
}

void accelread(){
	static uint32_t TimesTamp = 0;
	if (TimesTamp < __HAL_TIM_GET_COUNTER(&htim2)) {
		TimesTamp = __HAL_TIM_GET_COUNTER(&htim2) + 40000;

		tim_acc_new = __HAL_TIM_GET_COUNTER(&htim2);
		velo_new = speed;
		dt_acc = (tim_acc_new - tim_acc_last)/1000000.0;
		acc = (velo_new - velo_last)/dt_acc;

		velo_last = velo_new;
		tim_acc_last = tim_acc_new;
	}
}

void changeUnit(){
	QEI_mm = (QEI_raw/8192.0)*25.326*pi;
}

void HomemadePID(){
//	Now Lastime error errorsum kp ki kd Iterm dinput Lasterror
	set_point = traj[0];
	static uint32_t timestamp = 0;
	if (timestamp < __HAL_TIM_GET_COUNTER(&htim2)) {
		timestamp = __HAL_TIM_GET_COUNTER(&htim2) + 1000;
		Now = __HAL_TIM_GET_COUNTER(&htim2);
		error = set_point - QEI_mm;
		finish_state = 0;

		if(error < 2 && error > -2){
			errorsum = 0;
			finish_state = 1;
			HAL_GPIO_WritePin(GPIOA, GPIO_PIN_15,0);
			HAL_GPIO_WritePin(GPIOB, GPIO_PIN_7,0);
			__HAL_TIM_SET_COMPARE(&htim5, TIM_CHANNEL_2,30000);
		} else if(error < 11 && error > -11){
			errorsum += 15;
		}

		if(error > 32768)
			error -= 65536;
		if(error < -32768)
			error += 65536;

		if(error > 0){
			HAL_GPIO_WritePin(GPIOA, GPIO_PIN_15,0);
			HAL_GPIO_WritePin(GPIOB, GPIO_PIN_7,1);
			errorsum = errorsum + (error*(Now-Lastime)/10000);
			Iterm = ki*errorsum;
			if(Iterm > 65535){
				errorsum = (Iterm/ki) - (error*(Now-Lastime));
			}
			dinput = (error-Lasterror)/(Now-Lastime);
			if(errorsum < 0){
				errorsum = errorsum*-1;
			}
			Vfeedback = (kp*error)+(ki*errorsum)+(kd*dinput);
			if(Vfeedback > 65536){
				Vfeedback = 65536;
			}

			PWMset = (Vfeedback/65536.0)*30000;
		}
		else if(error < 0){
			HAL_GPIO_WritePin(GPIOA, GPIO_PIN_15,1);
			HAL_GPIO_WritePin(GPIOB, GPIO_PIN_7,0);
			error = error*(-1);

//			if(t < Time_acc_tri){
//				PWMset = 8000;
//			} else{
				errorsum = errorsum + (error*(Now-Lastime)/10000);
				Iterm = ki*errorsum;
				if(Iterm > 65535){
					errorsum = (Iterm/ki) - (error*(Now-Lastime));
				}
				dinput = (error-Lasterror)/(Now-Lastime);
				if(errorsum < 0){
					errorsum = errorsum*-1;
				}
				Vfeedback = (kp*error)+(ki*errorsum)+(kd*dinput);
				if(Vfeedback > 65536){
					Vfeedback = 65536;
				}

				PWMset = (Vfeedback/65536.0)*30000;
				if(PWMset > 8000){
					PWMset = 8000;
				}
//				PWMset = 4000;
//			}
		}
		else if(error == 0){
			HAL_GPIO_WritePin(GPIOA, GPIO_PIN_15,0);
			HAL_GPIO_WritePin(GPIOB, GPIO_PIN_7,0);
		}

		__HAL_TIM_SET_COMPARE(&htim5, TIM_CHANNEL_2, PWMset);

		Lastime = Now;
		Lasterror = error;
	}
}

void Trajectory(){
	Distance = trajec_target - QEI_start;
	Time_acc = Vmax / Amax;
	Time_dec = Time_acc;

	time_now = __HAL_TIM_GET_COUNTER(&htim2);

	if(trajec_target >= 0 && trajec_state == 0){
		trajec_state = 1;
		Timestamp = time_now;
		QEI_start = QEI_mm;
		pos = QEI_start;
	}
	else if(Distance > 0 && trajec_state == 1){	//Run Up
		kp = 900;
		ki = 7;
		kd = 1;
		Distance_Velo_Max = -(Vmax*Time_acc) + Distance ;
		t = (time_now - Timestamp)/1000000.0;  //s
		if(Distance_Velo_Max > 0){						//Trapezoi
			temp_check = 1;
			Time_const = Distance_Velo_Max/Vmax;
			if(t < Time_acc){
				traj[2] = Amax;
				traj[1] = Amax*t;
				traj[0] = (Amax/2.0)*t*t + pos;
				temp_pos_acc = traj[0];
			}
			else if(t < Time_const+Time_acc){
				traj[2] = 0;
				traj[1] = Vmax;
				traj[0] = (Vmax*(t-Time_acc)) + temp_pos_acc;
				temp_pos_const = traj[0];
			}
			else if(t < Time_const+Time_acc+Time_dec){
				traj[2] = -Amax;
				traj[1] = (traj[2]*(t-Time_const-Time_acc)) + Vmax;
				traj[0] = ((Amax/2)*(t-Time_const-Time_acc)*(t-Time_const-Time_acc))+(traj[1]*(t-Time_const-Time_acc))+temp_pos_const;
			}
			else{
				trajec_state = 0;
				trajec_target = -10;
				traj[2] = 0;
				temp_pos_acc = 0;
				temp_pos_const = 0;
			}
		}
		else if(Distance_Velo_Max <= 0){				//Triangle
			temp_check = 2;
			Time_acc_tri = sqrt(Distance/Amax);
			if(t < Time_acc_tri){
				traj[2] = Amax;
				traj[1] = Amax*t;
				traj[0] = (Amax/2.0)*t*t + pos;
				temp_pos_acc = traj[0];
				temp_v_acc = traj[1];
			}
			else if(t < Time_acc_tri*2){
				traj[2] = -Amax;
				traj[1] = temp_v_acc - (Amax*(t-Time_acc_tri));
				traj[0] = ((Amax/2.0)*(t-Time_acc_tri)*(t-Time_acc_tri))+(traj[1]*(t-Time_acc_tri))+temp_pos_acc;
			}
			else{
				trajec_state = 0;
				trajec_target = -10;
				traj[2] = 0;
				Time_acc_tri = 0;
				temp_pos_acc = 0;
				temp_v_acc = 0;
			}
		}
	}
	else if(Distance < 0 && trajec_state == 1){        		// Run Down
		kp = 900;
		ki = 10;
		kd = 0;
		Distance_Velo_Max = (Vmax*Time_acc) + Distance ;
		t = (time_now - Timestamp)/1000000.0;  //s
		if(Distance_Velo_Max < 0){							//Trapezoi
			temp_check = 3;
			Time_const = Distance_Velo_Max/Vmax;
			if(t < Time_acc){
				traj[2] = -Amax;
				traj[1] = -Amax*t;
				traj[0] = (-Amax/2.0)*t*t + pos;
				temp_pos_acc = traj[0];
			}
			else if(t < Time_const+Time_acc){
				traj[2] = 0;
				traj[1] = -Vmax;
				traj[0] = (-Vmax*(t-Time_acc)) + temp_pos_acc;
				temp_pos_const = traj[0];
			}
			else if(t < Time_const+Time_acc+Time_dec){
				traj[2] = Amax;
				traj[1] = (traj[2]*(t-Time_const-Time_acc)) - Vmax;
				traj[0] = ((Amax/2)*(t-Time_const-Time_acc)*(t-Time_const-Time_acc))+(traj[1]*(t-Time_const-Time_acc))+temp_pos_const;
			}
			else{
				trajec_state = 0;
				trajec_target = -10;
				traj[2] = 0;
				temp_pos_acc = 0;
				temp_pos_const = 0;
			}
		}
		else if(Distance_Velo_Max >= 0){					//Triangle
			temp_check = 4;
			Time_acc_tri = sqrt(-Distance/Amax);
			if(t < Time_acc_tri){
				traj[2] = -Amax;
				traj[1] = -Amax*t;
				traj[0] = (-Amax/2.0)*t*t + pos;
				temp_pos_acc = traj[0];
				temp_v_acc = traj[1];
			}
			else if(t < Time_acc_tri*2){
				traj[2] = Amax;
				traj[1] = temp_v_acc + (Amax*(t-Time_acc_tri));
				traj[0] = ((-Amax/2.0)*(t-Time_acc_tri)*(t-Time_acc_tri))+(traj[1]*(t-Time_acc_tri))+temp_pos_acc;
			}
			else{
				trajec_state = 0;
				trajec_target = -10;
				traj[2] = 0;
				Time_acc_tri = 0;
				temp_pos_acc = 0;
				temp_v_acc = 0;
			}
		}
	}
}
/* USER CODE END 4 */

void Error_Handler(void)
{
  __disable_irq();
  while (1)
  {
  }
}
